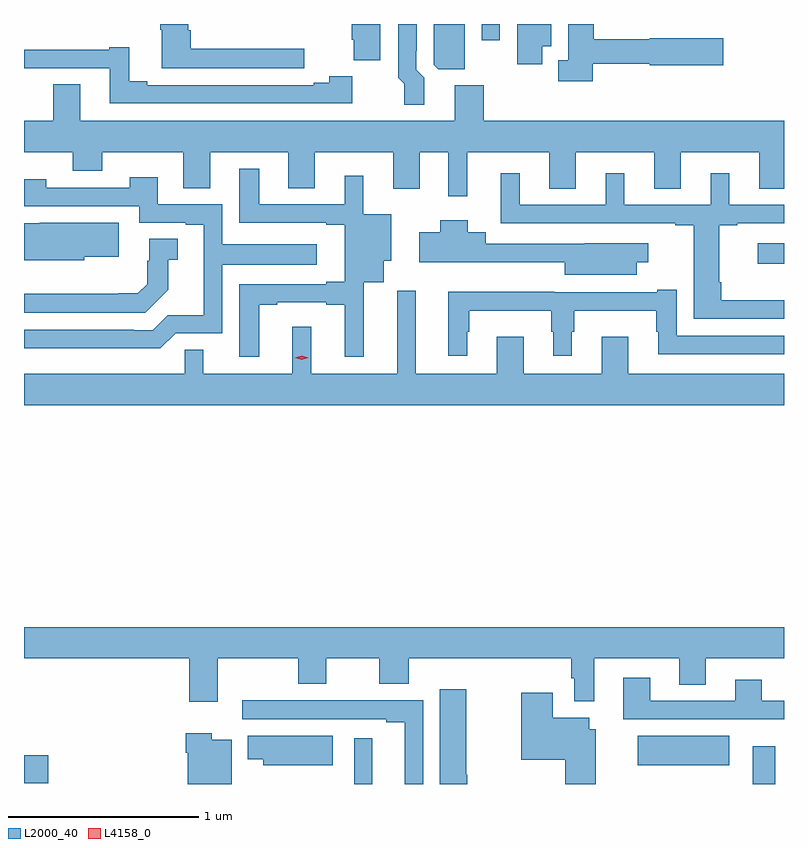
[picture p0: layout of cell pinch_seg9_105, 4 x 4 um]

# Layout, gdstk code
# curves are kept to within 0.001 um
import gdstk
lib = gdstk.Library(unit=1e-6, precision=1e-09)
def R(c, l, rs):  # rectangles x0, y0, x1, y1
    for r in rs: c.add(gdstk.rectangle(r[:2], r[2:], *l))
def P(c, l, *ps):  # polygons
    for p in ps: c.add(gdstk.Polygon(p, *l))
L2000_40 = (2000, 40)
L4158_0 = (4158, 0)

pinch_seg9_105 = lib.new_cell('pinch_seg9_105')
R(pinch_seg9_105, L2000_40, [(1067.109,1183.77,1067.206,1184.011), (1069.208,1183.77,1069.327,1183.969), (1065.372,1183.775,1065.499,1183.922), (1068.603,1183.868,1069.084,1184.023), (1069.233,1186.508,1069.372,1186.615), (1067.781,1187.685,1067.877,1187.77)])
P(pinch_seg9_105, L2000_40, [(1068.366,1187.562),(1068.666,1187.562),(1068.666,1187.554),(1069.051,1187.554),(1069.051,1187.696),(1068.666,1187.696),(1068.666,1187.69),(1068.371,1187.69),(1068.371,1187.77),(1068.236,1187.77),(1068.236,1187.578),(1068.185,1187.578),(1068.185,1187.468),(1068.366,1187.468)],
  [(1068.1,1187.654),(1068.148,1187.654),(1068.148,1187.77),(1067.969,1187.77),(1067.969,1187.558),(1068.1,1187.558)],
  [(1067.248,1187.77),(1067.096,1187.77),(1067.096,1187.687),(1067.108,1187.687),(1067.108,1187.579),(1067.248,1187.579)],
  [(1067.479,1187.486),(1067.436,1187.529),(1067.436,1187.629),(1067.439,1187.629),(1067.439,1187.77),(1067.343,1187.77),(1067.343,1187.486),(1067.374,1187.455),(1067.374,1187.346),(1067.479,1187.346)],
  [(1066.846,1187.641),(1066.25,1187.641),(1066.25,1187.737),(1066.237,1187.737),(1066.237,1187.77),(1066.09,1187.77),(1066.09,1187.741),(1066.097,1187.741),(1066.097,1187.537),(1066.846,1187.537)],
  [(1067.692,1187.747),(1067.691,1187.747),(1067.691,1187.77),(1067.529,1187.77),(1067.529,1187.556),(1067.553,1187.533),(1067.692,1187.533)],
  [(1067.1,1187.494),(1066.979,1187.494),(1066.979,1187.461),(1066.898,1187.461),(1066.898,1187.448),(1066.021,1187.448),(1066.021,1187.468),(1065.925,1187.468),(1065.925,1187.647),(1065.821,1187.647),(1065.821,1187.635),(1065.372,1187.635),(1065.372,1187.538),(1065.824,1187.538),(1065.824,1187.352),(1067.1,1187.352)],
  [(1067.705,1187.096),(1068.137,1187.096),(1068.137,1186.903),(1068.277,1186.903),(1068.277,1187.096),(1068.689,1187.096),(1068.689,1186.903),(1068.829,1186.903),(1068.829,1187.096),(1069.241,1187.096),(1069.241,1186.903),(1069.372,1186.903),(1069.372,1187.26),(1067.792,1187.26),(1067.792,1187.448),(1067.639,1187.448),(1067.639,1187.26),(1065.667,1187.26),(1065.667,1187.453),(1065.527,1187.453),(1065.527,1187.26),(1065.372,1187.26),(1065.372,1187.096),(1065.628,1187.096),(1065.628,1186.997),(1065.783,1186.997),(1065.783,1187.096),(1066.211,1187.096),(1066.211,1186.906),(1066.351,1186.906),(1066.351,1187.096),(1066.763,1187.096),(1066.763,1186.906),(1066.903,1186.906),(1066.903,1187.096),(1067.315,1187.096),(1067.315,1186.902),(1067.455,1186.902),(1067.455,1187.096),(1067.606,1187.096),(1067.606,1186.863),(1067.705,1186.863)],
  [(1066.609,1186.293),(1066.705,1186.293),(1066.705,1186.305),(1066.964,1186.305),(1066.964,1186.293),(1067.06,1186.293),(1067.06,1186.02),(1067.159,1186.02),(1067.159,1186.412),(1067.266,1186.412),(1067.266,1186.523),(1067.305,1186.523),(1067.305,1186.768),(1067.158,1186.768),(1067.158,1186.972),(1067.06,1186.972),(1067.06,1186.821),(1066.609,1186.821),(1066.609,1187.008),(1066.505,1187.008),(1066.505,1186.725),(1066.964,1186.725),(1066.964,1186.713),(1067.06,1186.713),(1067.06,1186.414),(1066.964,1186.414),(1066.964,1186.401),(1066.505,1186.401),(1066.505,1186.02),(1066.609,1186.02)],
  [(1069.372,1186.316),(1069.043,1186.316),(1069.043,1186.411),(1069.03,1186.411),(1069.03,1186.71),(1069.126,1186.71),(1069.126,1186.722),(1069.372,1186.722),(1069.372,1186.818),(1069.084,1186.818),(1069.084,1186.984),(1068.986,1186.984),(1068.986,1186.818),(1068.532,1186.818),(1068.532,1186.984),(1068.434,1186.984),(1068.434,1186.818),(1067.98,1186.818),(1067.98,1186.984),(1067.882,1186.984),(1067.882,1186.722),(1068.8,1186.722),(1068.8,1186.71),(1068.896,1186.71),(1068.896,1186.218),(1069.372,1186.218)],
  [(1066.17,1186.143),(1066.416,1186.143),(1066.416,1186.502),(1066.912,1186.502),(1066.912,1186.612),(1066.416,1186.612),(1066.416,1186.821),(1066.075,1186.821),(1066.075,1186.963),(1065.928,1186.963),(1065.928,1186.908),(1065.489,1186.908),(1065.489,1186.954),(1065.372,1186.954),(1065.372,1186.812),(1065.978,1186.812),(1065.978,1186.725),(1066.223,1186.725),(1066.223,1186.713),(1066.319,1186.713),(1066.319,1186.236),(1066.128,1186.236),(1066.05,1186.158),(1065.95,1186.158),(1065.95,1186.161),(1065.372,1186.161),(1065.372,1186.064),(1066.09,1186.064)],
  [(1068.598,1186.517),(1068.658,1186.517),(1068.658,1186.615),(1068.322,1186.615),(1068.322,1186.614),(1067.803,1186.614),(1067.803,1186.675),(1067.707,1186.675),(1067.707,1186.738),(1067.564,1186.738),(1067.564,1186.675),(1067.451,1186.675),(1067.451,1186.517),(1068.218,1186.517),(1068.218,1186.451),(1068.598,1186.451)],
  [(1065.69,1186.544),(1065.871,1186.544),(1065.871,1186.723),(1065.454,1186.723),(1065.454,1186.722),(1065.372,1186.722),(1065.372,1186.526),(1065.69,1186.526)],
  [(1065.908,1186.251),(1066.009,1186.251),(1066.13,1186.371),(1066.13,1186.529),(1066.18,1186.529),(1066.18,1186.64),(1066.031,1186.64),(1066.031,1186.523),(1066.02,1186.523),(1066.02,1186.4),(1065.971,1186.352),(1065.372,1186.351),(1065.372,1186.25)],
  [(1067.704,1186.151),(1067.716,1186.151),(1067.716,1186.262),(1068.147,1186.262),(1068.147,1186.151),(1068.158,1186.151),(1068.158,1186.023),(1068.256,1186.023),(1068.256,1186.151),(1068.268,1186.151),(1068.268,1186.262),(1068.699,1186.262),(1068.699,1186.151),(1068.71,1186.151),(1068.71,1186.032),(1069.372,1186.032),(1069.372,1186.128),(1068.807,1186.128),(1068.807,1186.372),(1068.704,1186.372),(1068.704,1186.359),(1068.162,1186.359),(1068.162,1186.36),(1067.606,1186.36),(1067.606,1186.023),(1067.704,1186.023)],
  [(1066.784,1186.177),(1066.784,1185.928),(1066.316,1185.928),(1066.316,1186.055),(1066.218,1186.055),(1066.218,1185.928),(1065.372,1185.928),(1065.372,1185.764),(1069.372,1185.764),(1069.372,1185.928),(1068.553,1185.928),(1068.553,1186.123),(1068.413,1186.123),(1068.413,1185.928),(1068.001,1185.928),(1068.001,1186.123),(1067.861,1186.123),(1067.861,1185.928),(1067.434,1185.928),(1067.434,1186.366),(1067.336,1186.366),(1067.336,1185.928),(1066.883,1185.928),(1066.883,1186.177)],
  [(1066.393,1184.432),(1066.816,1184.432),(1066.816,1184.297),(1066.963,1184.297),(1066.963,1184.432),(1067.243,1184.432),(1067.243,1184.297),(1067.396,1184.297),(1067.396,1184.432),(1068.252,1184.432),(1068.252,1184.327),(1068.269,1184.327),(1068.269,1184.205),(1068.373,1184.205),(1068.373,1184.432),(1068.821,1184.432),(1068.821,1184.293),(1068.961,1184.293),(1068.961,1184.432),(1069.372,1184.432),(1069.372,1184.596),(1065.372,1184.596),(1065.372,1184.432),(1066.241,1184.432),(1066.241,1184.202),(1066.393,1184.202)],
  [(1069.372,1184.208),(1069.255,1184.208),(1069.255,1184.32),(1069.115,1184.32),(1069.115,1184.208),(1068.667,1184.208),(1068.667,1184.329),(1068.527,1184.329),(1068.527,1184.112),(1069.119,1184.112),(1069.119,1184.111),(1069.372,1184.111)],
  [(1067.705,1183.818),(1067.7,1183.818),(1067.7,1184.269),(1067.561,1184.269),(1067.561,1183.77),(1067.705,1183.77)],
  [(1068.382,1184.059),(1068.346,1184.059),(1068.346,1184.119),(1068.154,1184.119),(1068.154,1184.251),(1067.989,1184.251),(1067.989,1183.898),(1068.221,1183.898),(1068.221,1183.77),(1068.382,1183.77)],
  [(1067.472,1184.212),(1066.521,1184.212),(1066.521,1184.111),(1067.279,1184.111),(1067.279,1184.094),(1067.375,1184.094),(1067.375,1183.77),(1067.472,1183.77)],
  [(1066.465,1184.002),(1066.36,1184.002),(1066.36,1184.038),(1066.223,1184.038),(1066.223,1183.934),(1066.235,1183.934),(1066.235,1183.77),(1066.465,1183.77)],
  [(1066.996,1184.023),(1066.55,1184.023),(1066.55,1183.901),(1066.631,1183.901),(1066.631,1183.868),(1066.996,1183.868)])
P(pinch_seg9_105, L4158_0, [(1066.833,1186.003),(1066.798,1186.013),(1066.797,1186.013),(1066.798,1186.014),(1066.833,1186.023),(1066.869,1186.013),(1066.869,1186.013),(1066.869,1186.013)])

lib.write_gds('pinch_seg9_105.gds')
